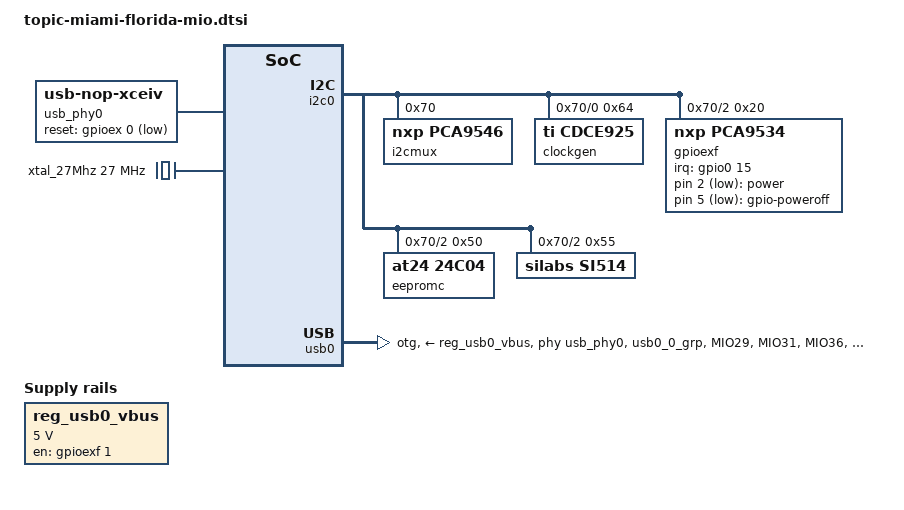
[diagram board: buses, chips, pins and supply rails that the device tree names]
/include/ "topic-miami.dtsi"

/* Common components for MIO parts of Florida boards. These are
 * accessible even without programming any logic. */

/ {
	/* Regulator for the 5V USB VBUS power line. This is connected
	 * to the second output of the GPIO expander. */
	reg_usb0_vbus: regulator_usb {
		compatible = "regulator-fixed";
		regulator-name = "usb0-vbus";
		regulator-min-microvolt = <5000000>;
		regulator-max-microvolt = <5000000>;
		gpio = <&gpioexf 1 0>;
		enable-active-high;
	};

	/* USB PHY and reset IO pin */
	usb_phy0: phy0 {
		compatible = "usb-nop-xceiv";
		#phy-cells = <0>;
		reset-gpios = <&gpioex 0 1>;
	};

	xtal_27Mhz: clock_xtal_27Mhz {
		compatible = "fixed-clock";
		#clock-cells = <0>;
		clock-frequency = <27000000>;
	};

	gpio_keys: gpio-keys {
		compatible = "gpio-keys";
		power {
			label = "power";
			gpios = <&gpioexf 2 1>; /* Input 2, active low */
			linux,code = <116>; /* KEY_POWER */
			gpio-key,wakeup;
		};
	};

	gpio-poweroff {
		compatible = "gpio-poweroff";
		gpios = <&gpioexf 5 1>; /* Output 5, active low */
		input;
	};
};

/* I2C bus layout */
&i2c0 {
	i2cmux: i2cswitch@70 {
		compatible = "nxp,pca9546";
		#address-cells = <1>;
		#size-cells = <0>;
		reg = <0x70>;

		i2cmux_0: i2c@0 {
			#address-cells = <1>;
			#size-cells = <0>;
			reg = <0>;
			/* Clock generator TI I2C chip, 27MHz . */
			clockgen: cdce925pw@64 {
				compatible = "ti,cdce925";
				reg = <0x64>;
				clocks = <&xtal_27Mhz>;
				xtal-load-pf = <5>; /* Crystal load-capacitor value */
				#clock-cells = <1>;
				/* PLL options, optional. For example to get SSC 1%
				 * centered, supply the following extra data:
				 *PLL2 {
				 *	spread-spectrum = <4>;
				 *	spread-spectrum-center;
				 *};
				 */
			};
		};
		i2cmux_1: i2c@1 {
			/* HDMI O - Connects directly to HDMI connector */
			#address-cells = <1>;
			#size-cells = <0>;
			reg = <1>;
		};
		i2cmux_2: i2c@2 {
			/* GEN */
			#address-cells = <1>;
			#size-cells = <0>;
			reg = <2>;
			/* GPIO expander */
			gpioexf: pca953x@20 {
				compatible = "nxp,pca9534";
				reg = <0x20>;
				gpio-line-names = "USB_OTG_OC_N", "USB_OTG_EN_N", "POWER_BTN", "HDMI_IN_HPD",
					"", "POWER_KILL_N", "MAIN_POWER", "";
				gpio-controller;
				#gpio-cells = <2>;
				interrupt-controller;
				/* IRQ line connected to MIO 15 */
				interrupt-parent = <&gpio0>;
				interrupts = <15 0x8>; /* GPIO 15, IRQ_TYPE_LEVEL_LOW */
			};
			/* EEPROM (v3r1 board)*/
			eepromc: eepromc@50 {
				compatible = "at24,24c04";
				reg = <0x50>;
				pagesize = <16>;
			};
			/* Programmable clock */
			si514: si514@55 {
				reg = <0x55>;
				#clock-cells = <0>;
				compatible = "silabs,si514";
			};
		};
		i2cmux_3: i2c@3 {
			/* HDMI IN */
			#address-cells = <1>;
			#size-cells = <0>;
			reg = <3>;
		};
	};
};

/* USB connected through MIO and GPIO expander */
&usb0 {
	status = "okay";
	vbus-supply = <&reg_usb0_vbus>;
	dr_mode = "otg";
	usb-phy = <&usb_phy0>;
	pinctrl-names = "default";
	pinctrl-0 = <&pinctrl_usb0_default>;
};

&pinctrl0 {
	pinctrl_usb0_default: usb0-default {
		mux {
			groups = "usb0_0_grp";
			function = "usb0";
		};

		conf {
			groups = "usb0_0_grp";
			slew-rate = <0>;
			power-source = <1>;
		};

		conf-rx {
			pins = "MIO29", "MIO31", "MIO36";
			bias-high-impedance;
		};

		conf-tx {
			pins = "MIO28", "MIO30", "MIO32", "MIO33", "MIO34",
			       "MIO35", "MIO37", "MIO38", "MIO39";
			bias-disable;
		};
	};
};
